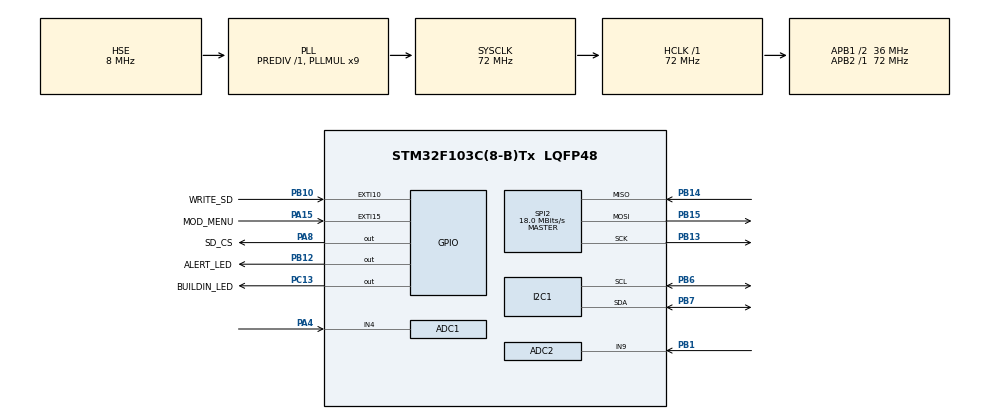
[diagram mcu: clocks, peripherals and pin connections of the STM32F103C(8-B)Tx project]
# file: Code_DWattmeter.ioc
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ADC1.Channel-7\#ChannelRegularConversion=ADC_CHANNEL_4
ADC1.ContinuousConvMode=DISABLE
ADC1.NbrOfConversionFlag=1
ADC1.Rank-7\#ChannelRegularConversion=1
ADC1.SamplingTime-7\#ChannelRegularConversion=ADC_SAMPLETIME_1CYCLE_5
ADC1.master=1
ADC2.Channel-5\#ChannelRegularConversion=ADC_CHANNEL_9
ADC2.ContinuousConvMode=DISABLE
ADC2.NbrOfConversion=1
ADC2.NbrOfConversionFlag=1
ADC2.Rank-5\#ChannelRegularConversion=1
ADC2.SamplingTime-5\#ChannelRegularConversion=ADC_SAMPLETIME_1CYCLE_5
FATFS._MAX_SS=4096
FATFS._USE_LFN=1
Mcu.Family=STM32F1
Mcu.Name=STM32F103C(8-B)Tx
Mcu.Package=LQFP48
NVIC.EXTI15_10_IRQn=true\:0\:0\:true\:false\:true\:true\:true\:true
NVIC.PriorityGroup=NVIC_PRIORITYGROUP_4
NVIC.TIM2_IRQn=true\:0\:0\:false\:false\:true\:true\:true\:true
NVIC.TIM3_IRQn=true\:0\:0\:false\:false\:true\:true\:true\:true
PA13.Mode=Serial_Wire
PA13.Signal=SYS_JTMS-SWDIO
PA14.Mode=Serial_Wire
PA14.Signal=SYS_JTCK-SWCLK
PA15.GPIO_Label=MOD_MENU
PA15.GPIO_PuPd=GPIO_PULLDOWN
PA15.Signal=GPXTI15
PA4.Signal=ADCx_IN4
PA8.GPIO_Label=SD_CS
PA8.Signal=GPIO_Output
PB1.Signal=ADCx_IN9
PB10.GPIO_Label=WRITE_SD
PB10.GPIO_PuPd=GPIO_PULLDOWN
PB10.Signal=GPXTI10
PB12.GPIO_Label=ALERT_LED
PB12.Signal=GPIO_Output
PB13.Mode=Full_Duplex_Master
PB13.Signal=SPI2_SCK
PB14.Mode=Full_Duplex_Master
PB14.Signal=SPI2_MISO
PB15.Mode=Full_Duplex_Master
PB15.Signal=SPI2_MOSI
PB6.Mode=I2C
PB6.Signal=I2C1_SCL
PB7.Mode=I2C
PB7.Signal=I2C1_SDA
PC13-TAMPER-RTC.GPIO_Label=BUILDIN_LED
PC13-TAMPER-RTC.Signal=GPIO_Output
PC14-OSC32_IN.Mode=LSE-External-Oscillator
PC14-OSC32_IN.Signal=RCC_OSC32_IN
PC15-OSC32_OUT.Mode=LSE-External-Oscillator
PC15-OSC32_OUT.Signal=RCC_OSC32_OUT
PD0-OSC_IN.Mode=HSE-External-Oscillator
PD0-OSC_IN.Signal=RCC_OSC_IN
PD1-OSC_OUT.Mode=HSE-External-Oscillator
PD1-OSC_OUT.Signal=RCC_OSC_OUT
ProjectManager.HeapSize=0x200
ProjectManager.StackSize=0x400
ProjectManager.TargetToolchain=Makefile
RCC.ADCPresc=RCC_ADCPCLK2_DIV8
RCC.AHBFreq_Value=72000000
RCC.APB1CLKDivider=RCC_HCLK_DIV2
RCC.APB1Freq_Value=36000000
RCC.APB1TimFreq_Value=72000000
RCC.APB2Freq_Value=72000000
RCC.APB2TimFreq_Value=72000000
RCC.HCLKFreq_Value=72000000
RCC.PLLMUL=RCC_PLL_MUL9
RCC.PLLSourceVirtual=RCC_PLLSOURCE_HSE
RCC.SYSCLKFreq_VALUE=72000000
RCC.SYSCLKSource=RCC_SYSCLKSOURCE_PLLCLK
RCC.USBFreq_Value=72000000
RTC.Date=24
RTC.Hours=17
RTC.Minutes=9
RTC.Month=RTC_MONTH_NOVEMBER
RTC.Seconds=30
RTC.WeekDay=RTC_WEEKDAY_THURSDAY
RTC.Year=22
SH.ADCx_IN4.0=ADC1_IN4,IN4
SH.ADCx_IN9.0=ADC2_IN9,IN9
SPI2.CalculateBaudRate=18.0 MBits/s
SPI2.Direction=SPI_DIRECTION_2LINES
SPI2.Mode=SPI_MODE_MASTER
SPI2.VirtualType=VM_MASTER
TIM2.AutoReloadPreload=TIM_AUTORELOAD_PRELOAD_ENABLE
TIM2.Period=4399
TIM2.Prescaler=32768
TIM3.AutoReloadPreload=TIM_AUTORELOAD_PRELOAD_ENABLE
TIM3.Period=64
TIM3.Prescaler=64
VP_FATFS_VS_Generic.Mode=User_defined
VP_RTC_VS_RTC_Activate.Mode=RTC_Enabled
VP_RTC_VS_RTC_Calendar.Mode=RTC_Calendar
VP_TIM2_VS_ClockSourceINT.Mode=Internal
VP_TIM3_VS_ClockSourceINT.Mode=Internal
board=custom

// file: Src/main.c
/* USER CODE BEGIN Header */
/* USER CODE END Header */
#include "main.h"
#include "adc.h"
#include "fatfs.h"
#include "i2c.h"
#include "rtc.h"
#include "spi.h"
#include "tim.h"
#include "gpio.h"

/* USER CODE BEGIN Includes */
// #include <stdio.h>
#include "lcd_i2c.h"  // LCD library
#include <math.h>
#include <stdio.h>
/* USER CODE END Includes */

/* USER CODE BEGIN PD */
FATFS fs; // File system object
FIL fil;  // File object
// Capacity and free space
FATFS *pfs;
DWORD fre_clust;
uint32_t free_space;

// RTC
RTC_TimeTypeDef sTime;
RTC_DateTypeDef sDate;
/* USER CODE END PD */

/* USER CODE BEGIN PV */
uint8_t menu = 0;
uint8_t write_sd = 0;
uint8_t counting_period = 0;

const uint16_t adc_cross_zero_v = 2000;
const uint16_t adc_cross_zero_i = 1417;
const uint16_t max_samples = 4096;

// uint8_t frecuency = 50;
uint16_t sample_count = 0;  // It must be same size as max_samples

uint16_t adc1_value = 0;
uint16_t adc2_value = 0;
uint16_t last_adc_value[] = {0, 0}; // 0: V, 1: I

float voltage_sum = 0;
float RMS_voltage = 0;
float current_sum = 0;
float RMS_current = 0;
uint8_t frecuency = 50;
uint32_t period = 0;

float P = 0;
float power_sum = 0;

float S = 0;
float Q = 0;
float PF = 0;

/* USER CODE END PV */

void SystemClock_Config(void);

int main(void)
{

  /* MCU Configuration--------------------------------------------------------*/

  /* Reset of all peripherals, Initializes the Flash interface and the Systick. */
  HAL_Init();

  /* Configure the system clock */
  SystemClock_Config();

  /* Initialize all configured peripherals */
  MX_GPIO_Init();
  MX_I2C1_Init();
  MX_ADC1_Init();
  MX_TIM2_Init();
  MX_ADC2_Init();
  MX_TIM3_Init();
  MX_SPI2_Init();
  MX_FATFS_Init();
  MX_RTC_Init();
  /* USER CODE BEGIN 2 */
  // Function to calibrate ADC
  HAL_ADCEx_Calibration_Start(&hadc1);
  HAL_ADCEx_Calibration_Start(&hadc2);
  HAL_Delay(100);

  // Init LCD
  Lcd_Init();
  Lcd_Clear();

  // Init SD card
  uint8_t mounted = 1;
  if (f_mount(&fs, "", 1) != FR_OK) {
    Lcd_Set_Cursor(1,1);
    Lcd_Send_String("SD error");
    mounted = 0;
    HAL_Delay(3000);
  }
  // Check card capacity
  f_getfree("", &fre_clust, &pfs);
  // total = (uint32_t)((pfs->n_fatent - 2) * pfs->csize * 0.5);
  free_space = (uint32_t)(fre_clust * pfs->csize * 0.5);
  if (free_space < 100 && mounted == 1) {
    Lcd_Set_Cursor(1,1);
    Lcd_Send_String("SD full ");
    HAL_Delay(3000);
  }

  // HAL_GPIO_WritePin(ALERT_LED_GPIO_Port, ALERT_LED_Pin, GPIO_PIN_SET);

  // // Check if SD is workink ONLY DEBUG
  // if (f_open(&fil, "debug.txt", FA_OPEN_ALWAYS | FA_WRITE | FA_READ) != FR_OK) {
  //   Lcd_Set_Cursor(1,1);
  //   Lcd_Send_String("File error");
  //   HAL_Delay(1500);
  // }
  // // Go to end of file
  // f_lseek(&fil, fil.fsize);
  // // Write header
  // f_puts("Debugging SD Card\n", &fil);
  // f_close(&fil);

  // HAL_GPIO_WritePin(ALERT_LED_GPIO_Port,ALERT_LED_Pin, GPIO_PIN_RESET);

  // Print fixed menu=0 messages
  Lcd_Clear();
  // LCD Voltage
  Lcd_Set_Cursor(1,1);
  Lcd_Send_String("V=");
  // LCD Current
  Lcd_Set_Cursor(2,1);
  Lcd_Send_String("I=");

  // LCD Power Factor
  Lcd_Set_Cursor(1,10);
  Lcd_Send_String("Fp=");

  // LCD Power
  Lcd_Set_Cursor(2,9);
  Lcd_Send_String("P=");

  // Start TMR2: refresh LCD
  HAL_TIM_Base_Start_IT(&htim2);
  // Start TMR3: ADC sampling
  HAL_TIM_Base_Start_IT(&htim3);

  /* USER CODE END 2 */

  /* Infinite loop */
  while (1)
  {

    /* USER CODE BEGIN 3 */

    // Start ADC1: Current
    HAL_ADC_Start(&hadc1);
    // Start ADC2: Voltage
    HAL_ADC_Start(&hadc2);

    // Read ADC1: Current
    adc1_value = HAL_ADC_GetValue(&hadc1);
    // Read ADC2: Voltage
    adc2_value = HAL_ADC_GetValue(&hadc2);

    // Calculate frecuency
    if (adc2_value)

    if (write_sd == 1)
    {
      // Stop timer 2 and 3
      HAL_TIM_Base_Stop_IT(&htim2);
      HAL_TIM_Base_Stop_IT(&htim3);
      // Disable external interrupts B3 and B4
      HAL_NVIC_DisableIRQ(EXTI3_IRQn);
      HAL_NVIC_DisableIRQ(EXTI4_IRQn);

      HAL_GPIO_WritePin(ALERT_LED_GPIO_Port, ALERT_LED_Pin, GPIO_PIN_SET);
      // Write SD
      if (f_open(&fil, "data.csv", FA_OPEN_ALWAYS | FA_WRITE | FA_READ) != FR_OK) {
        Lcd_Set_Cursor(1,1);
        Lcd_Send_String("File error");
        HAL_Delay(1500);
      }
      // Go to end of file
      f_lseek(&fil, fil.fsize);
      // header
      // f_puts("FECHA;Vrms;Irms;S;P;Q;Fp;\n", &fil);

      // Get date and time
      HAL_RTC_GetTime(&hrtc, &sTime, RTC_FORMAT_BIN);
      HAL_RTC_GetDate(&hrtc, &sDate, RTC_FORMAT_BIN);

      char buffer[100];
      sprintf(buffer, "%d/%d/%d-%d:%d;%d.%d%d;%d.%d%d%d;%d.%d%d;%d.%d%d;%d.%d%d;%d.%d%d;\n",
        sDate.Date, sDate.Month, sDate.Year, sTime.Hours, sTime.Minutes,
        (uint8_t) RMS_voltage, (uint8_t) (RMS_voltage * 10) % 10, (uint8_t) (RMS_voltage * 100) % 10,
        (uint8_t) RMS_current, (uint8_t) (RMS_current * 10) % 10, (uint8_t) (RMS_current * 100) % 10, (uint8_t) (RMS_current * 1000) % 10,
        (uint8_t) S, (uint8_t) (S * 10) % 10, (uint8_t) (S * 100) % 10,
        (uint8_t) P, (uint8_t) (P * 10) % 10, (uint8_t) (P * 100) % 10,
        (uint8_t) Q, (uint8_t) (Q * 10) % 10, (uint8_t) (Q * 100) % 10,
        (uint8_t) PF, (uint8_t) (PF * 10) % 10, (uint8_t) (PF * 100) % 10
        // frecuency
        );
      f_puts(buffer, &fil);

      f_close(&fil);

      write_sd = 0;

      // Enable external interrupts B3 and B4
      HAL_NVIC_EnableIRQ(EXTI3_IRQn);
      HAL_NVIC_EnableIRQ(EXTI4_IRQn);
      // Continue timer 2 and 3
      HAL_TIM_Base_Start_IT(&htim2);
      HAL_TIM_Base_Start_IT(&htim3);
      HAL_GPIO_WritePin(ALERT_LED_GPIO_Port, ALERT_LED_Pin, GPIO_PIN_RESET);
    }

  }
  /* USER CODE END 3 */
}

void SystemClock_Config(void)
{
  RCC_OscInitTypeDef RCC_OscInitStruct = {0};
  RCC_ClkInitTypeDef RCC_ClkInitStruct = {0};
  RCC_PeriphCLKInitTypeDef PeriphClkInit = {0};

  /** Initializes the RCC Oscillators according to the specified parameters
  * in the RCC_OscInitTypeDef structure.
  */
  RCC_OscInitStruct.OscillatorType = RCC_OSCILLATORTYPE_LSI|RCC_OSCILLATORTYPE_HSE;
  RCC_OscInitStruct.HSEState = RCC_HSE_ON;
  RCC_OscInitStruct.HSEPredivValue = RCC_HSE_PREDIV_DIV1;
  RCC_OscInitStruct.HSIState = RCC_HSI_ON;
  RCC_OscInitStruct.LSIState = RCC_LSI_ON;
  RCC_OscInitStruct.PLL.PLLState = RCC_PLL_ON;
  RCC_OscInitStruct.PLL.PLLSource = RCC_PLLSOURCE_HSE;
  RCC_OscInitStruct.PLL.PLLMUL = RCC_PLL_MUL9;
  if (HAL_RCC_OscConfig(&RCC_OscInitStruct) != HAL_OK)
  {
    Error_Handler();
  }

  /** Initializes the CPU, AHB and APB buses clocks
  */
  RCC_ClkInitStruct.ClockType = RCC_CLOCKTYPE_HCLK|RCC_CLOCKTYPE_SYSCLK
                              |RCC_CLOCKTYPE_PCLK1|RCC_CLOCKTYPE_PCLK2;
  RCC_ClkInitStruct.SYSCLKSource = RCC_SYSCLKSOURCE_PLLCLK;
  RCC_ClkInitStruct.AHBCLKDivider = RCC_SYSCLK_DIV1;
  RCC_ClkInitStruct.APB1CLKDivider = RCC_HCLK_DIV2;
  RCC_ClkInitStruct.APB2CLKDivider = RCC_HCLK_DIV1;

  if (HAL_RCC_ClockConfig(&RCC_ClkInitStruct, FLASH_LATENCY_2) != HAL_OK)
  {
    Error_Handler();
  }
  PeriphClkInit.PeriphClockSelection = RCC_PERIPHCLK_RTC|RCC_PERIPHCLK_ADC;
  PeriphClkInit.RTCClockSelection = RCC_RTCCLKSOURCE_LSI;
  PeriphClkInit.AdcClockSelection = RCC_ADCPCLK2_DIV8;
  if (HAL_RCCEx_PeriphCLKConfig(&PeriphClkInit) != HAL_OK)
  {
    Error_Handler();
  }
}

/* USER CODE BEGIN 4 */

void HAL_TIM_PeriodElapsedCallback(TIM_HandleTypeDef *htim)
{
    if (htim->Instance == TIM2)
    {
      if (menu == 0)
      {
        // Clear voltage LCD
        Lcd_Set_Cursor(1,3);
        Lcd_Send_String("       ");
        Lcd_Set_Cursor(2,3);
        Lcd_Send_String("      ");

        // Print values
        // voltage
        Lcd_Set_Cursor(1,3);
        Lcd_Send_Float(RMS_voltage,2);
        // Lcd_Send_Float(adc2_value,0);
        // Lcd_Send_Float(adc1_value,0);
        // current
        Lcd_Set_Cursor(2,3);
        Lcd_Send_Float(RMS_current,3);
        // Lcd_Send_Float(adc1_value,0);
        // Lcd_Send_Float(adc2_value,0);

        // Lcd_Set_Cursor(1,10);
        // Lcd_Send_Float(frecuency,0);
      }
      else
      {
        // Clear voltage LCD
        Lcd_Set_Cursor(1,3);
        Lcd_Send_String("       ");
        Lcd_Set_Cursor(2,3);
        Lcd_Send_String("      ");

        // Print values
        Lcd_Set_Cursor(1,3);
        Lcd_Send_Float(S,2);
        Lcd_Set_Cursor(2,3);
        Lcd_Send_Float(Q,2);
      }
      // Clear LCD
      Lcd_Set_Cursor(1,13);
      Lcd_Send_String("    ");

      // power factor
      Lcd_Set_Cursor(1,13);
      Lcd_Send_Float(PF,2);
      Lcd_Set_Cursor(2,11);
      Lcd_Send_Float(P,1);
    }
    else if (htim->Instance == TIM3)
    {
      if (sample_count < max_samples)
      {
        sample_count++;
        voltage_sum += (adc2_value - adc_cross_zero_v) * (adc2_value - adc_cross_zero_v);
        current_sum += (adc1_value - adc_cross_zero_i) * (adc1_value - adc_cross_zero_i);
        power_sum += (adc2_value - adc_cross_zero_v) * (adc1_value - adc_cross_zero_i);
      }
      else
      {
        RMS_voltage = sqrt(voltage_sum * (22.5 / 111.845 * 1.4522) * (22.5 / 111.845 * 1.4522) / max_samples );
        RMS_current = sqrt(current_sum * ( 0.0470 / 149.68 * 18) * ( 0.0470 / 149.68 * 18 ) / max_samples);
        P = power_sum * (22.5 / 111.845 * 1.4522) * (0.0470 / 149.68 * 18) / max_samples;
        if (P < 0)
        {
          P = P * -1;
        }

        S = RMS_voltage * RMS_current;
        Q = sqrt( (S * S) - (P * P) );
        PF = P / S;

        // Reset all variables
        sample_count = 0;
        voltage_sum = 0;
        current_sum = 0;
        power_sum = 0;
      }
    }
}

// Handle GPIO external interrupt PB3 and PB4
void HAL_GPIO_EXTI_Callback(uint16_t GPIO_Pin)
{
  if (GPIO_Pin == WRITE_SD_Pin)
  {
    if (write_sd == 0)
    {
      write_sd = 1;
    }
  }
  else if (GPIO_Pin == MOD_MENU_Pin)
  {
    if (menu == 1)
    {
      menu = 0;

      // Print fixed messages
      Lcd_Set_Cursor(1,1);
      Lcd_Send_String("V=");
      Lcd_Set_Cursor(2,1);
      Lcd_Send_String("I=");
    }
    else
    {
      menu = 1;

      // Print fixed messages
      Lcd_Set_Cursor(1,1);
      Lcd_Send_String("S=");
      Lcd_Set_Cursor(2,1);
      Lcd_Send_String("Q=");
    }
  }
}

/* USER CODE END 4 */

void Error_Handler(void)
{
}
